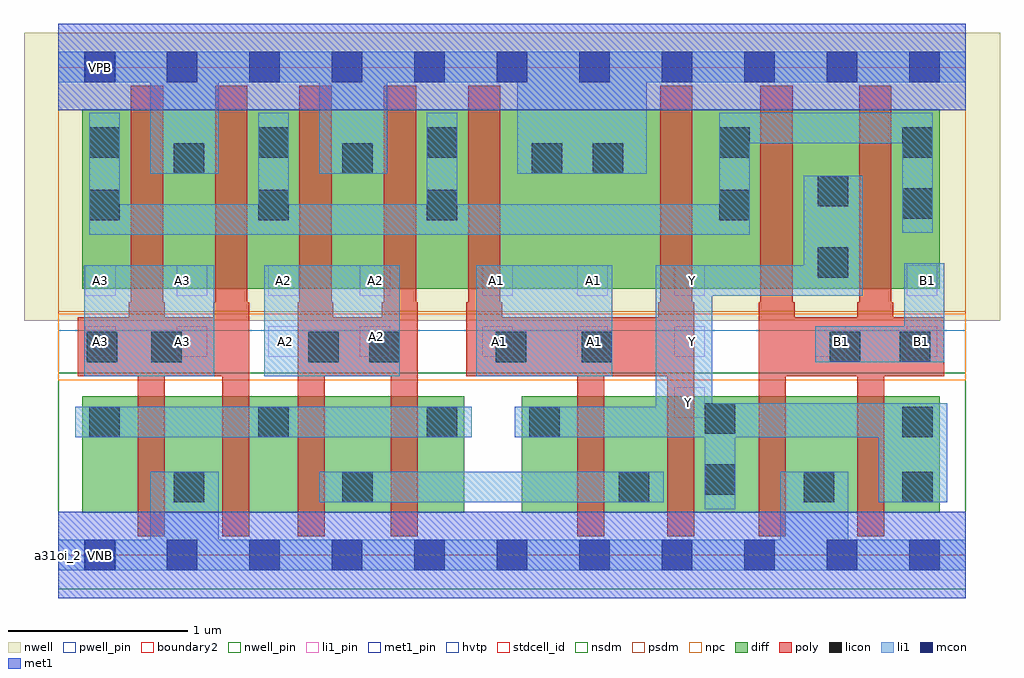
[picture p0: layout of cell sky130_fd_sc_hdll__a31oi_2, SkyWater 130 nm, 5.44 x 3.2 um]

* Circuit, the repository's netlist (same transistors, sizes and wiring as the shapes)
* Copyright 2020 The SkyWater PDK Authors
*
* Licensed under the Apache License, Version 2.0 (the "License");
* you may not use this file except in compliance with the License.
* You may obtain a copy of the License at
*
*     https://www.apache.org/licenses/LICENSE-2.0
*
* Unless required by applicable law or agreed to in writing, software
* distributed under the License is distributed on an "AS IS" BASIS,
* WITHOUT WARRANTIES OR CONDITIONS OF ANY KIND, either express or implied.
* See the License for the specific language governing permissions and
* limitations under the License.
*
* SPDX-License-Identifier: Apache-2.0

.SUBCKT sky130_fd_sc_hdll__a31oi_2 A1 A2 A3 B1 VGND VNB VPB VPWR Y
*.PININFO A1:I A2:I A3:I B1:I VGND:I VNB:I VPB:I VPWR:I Y:O
MMPA0 pndA A1 VPWR VPB sky130_fd_pr__pfet_01v8_hvt m=2 w=1.0U l=0.18U mult=1 sa=0.265
+ sb=0.265 sd=0.28 area=0.063 perim=1.14
MMPA1 pndA A2 VPWR VPB sky130_fd_pr__pfet_01v8_hvt m=2 w=1.0U l=0.18U mult=1 sa=0.265
+ sb=0.265 sd=0.28 area=0.063 perim=1.14
MMPA2 pndA A3 VPWR VPB sky130_fd_pr__pfet_01v8_hvt m=2 w=1.0U l=0.18U mult=1 sa=0.265
+ sb=0.265 sd=0.28 area=0.063 perim=1.14
MMPB0 Y B1 pndA VPB sky130_fd_pr__pfet_01v8_hvt m=2 w=1.0U l=0.18U mult=1 sa=0.265
+ sb=0.265 sd=0.28 area=0.063 perim=1.14
MMNA0 Y A1 sndA1 VNB sky130_fd_pr__nfet_01v8 m=2 w=0.65U l=0.15U mult=1 sa=0.265
+ sb=0.265 sd=0.28 area=0.063 perim=1.14
MMNA1 sndA1 A2 sndA2 VNB sky130_fd_pr__nfet_01v8 m=2 w=0.65U l=0.15U mult=1 sa=0.265
+ sb=0.265 sd=0.28 area=0.063 perim=1.14
MMNA2 sndA2 A3 VGND VNB sky130_fd_pr__nfet_01v8 m=2 w=0.65U l=0.15U mult=1 sa=0.265
+ sb=0.265 sd=0.28 area=0.063 perim=1.14
MMNB0 Y B1 VGND VNB sky130_fd_pr__nfet_01v8 m=2 w=0.65U l=0.15U mult=1 sa=0.265
+ sb=0.265 sd=0.28 area=0.063 perim=1.14
.ENDS sky130_fd_sc_hdll__a31oi_2

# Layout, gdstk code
import gdstk
lib = gdstk.Library(unit=1e-6, precision=1e-09)
def R(c, l, rs):  # rectangles x0, y0, x1, y1
    for r in rs: c.add(gdstk.rectangle(r[:2], r[2:], *l))
def A(c, l, x, y, w, h, nx, ny, dx, dy):  # array of equal rectangles
    R(c, l, [(x+i*dx, y+j*dy, x+i*dx+w, y+j*dy+h) for i in range(nx) for j in range(ny)])
def P(c, l, *ps):  # polygons
    for p in ps: c.add(gdstk.Polygon(p, *l))
nwell_pin = (64, 16)
nwell = (64, 20)
diff = (65, 20)
poly = (66, 20)
licon = (66, 44)
li1_pin = (67, 16)
li1 = (67, 20)
mcon = (67, 44)
met1_pin = (68, 16)
met1 = (68, 20)
hvtp = (78, 44)
stdcell_id = (81, 4)
nsdm = (93, 44)
psdm = (94, 20)
npc = (95, 20)
pwell_pin = (122, 16)
boundary2 = (236, 0)

sky130_fd_sc_hdll__a31oi = lib.new_cell('sky130_fd_sc_hdll__a31oi_2')
R(sky130_fd_sc_hdll__a31oi, nwell_pin, [(0.15,2.635,0.32,2.805)])
R(sky130_fd_sc_hdll__a31oi, nwell, [(-0.19,1.305,5.25,2.91)])
R(sky130_fd_sc_hdll__a31oi, diff, [(0.135,0.235,2.265,0.885), (2.585,0.235,4.915,0.885), (0.135,1.485,4.915,2.485)])
P(sky130_fd_sc_hdll__a31oi, poly, [(1.065,1.41),(1.055,1.41),(1.055,2.615),(0.875,2.615),(0.875,1.41),(0.865,1.41),(0.865,1.325),(0.595,1.325),(0.595,1.41),(0.585,1.41),(0.585,2.615),(0.405,2.615),(0.405,1.41),(0.395,1.41),(0.395,1.325),(0.11,1.325),(0.11,0.995),(0.445,0.995),(0.445,0.105),(0.595,0.105),(0.595,0.995),(0.915,0.995),(0.915,0.105),(1.065,0.105)],
  [(2.005,1.41),(1.995,1.41),(1.995,2.615),(1.815,2.615),(1.815,1.41),(1.805,1.41),(1.805,1.325),(1.535,1.325),(1.535,1.41),(1.525,1.41),(1.525,2.615),(1.345,2.615),(1.345,1.41),(1.335,1.41),(1.335,0.105),(1.485,0.105),(1.485,0.995),(1.855,0.995),(1.855,0.105),(2.005,0.105)],
  [(3.545,1.41),(3.535,1.41),(3.535,2.615),(3.355,2.615),(3.355,1.41),(3.345,1.41),(3.345,1.325),(2.475,1.325),(2.475,1.41),(2.465,1.41),(2.465,2.615),(2.285,2.615),(2.285,1.41),(2.275,1.41),(2.275,0.995),(2.895,0.995),(2.895,0.105),(3.045,0.105),(3.045,0.995),(3.395,0.995),(3.395,0.105),(3.545,0.105)],
  [(4.94,1.325),(4.655,1.325),(4.655,1.41),(4.645,1.41),(4.645,2.615),(4.465,2.615),(4.465,1.41),(4.455,1.41),(4.455,1.325),(4.105,1.325),(4.105,1.41),(4.095,1.41),(4.095,2.615),(3.915,2.615),(3.915,1.41),(3.905,1.41),(3.905,0.105),(4.055,0.105),(4.055,0.995),(4.455,0.995),(4.455,0.105),(4.605,0.105),(4.605,0.995),(4.94,0.995)])
A(sky130_fd_sc_hdll__a31oi, licon, 0.175, 0.655, 0.17, 0.17, 3, 2, 0.94, 1.21)
A(sky130_fd_sc_hdll__a31oi, licon, 0.175, 2.215, 0.17, 0.17, 3, 1, 0.94, 0)
R(sky130_fd_sc_hdll__a31oi, licon, [(0.645,0.295,0.815,0.465), (1.585,0.295,1.755,0.465), (3.125,0.295,3.295,0.465), (4.155,0.295,4.325,0.465), (4.705,0.295,4.875,0.465), (3.605,0.335,3.775,0.505), (2.625,0.655,2.795,0.825), (4.705,0.655,4.875,0.825), (3.605,0.675,3.775,0.845), (0.16,1.075,0.33,1.245), (0.52,1.075,0.69,1.245), (1.395,1.075,1.565,1.245), (1.735,1.075,1.905,1.245), (2.44,1.075,2.61,1.245), (2.92,1.075,3.09,1.245), (4.3,1.075,4.47,1.245), (4.69,1.075,4.86,1.245), (4.235,1.545,4.405,1.715), (3.685,1.865,3.855,2.035), (4.705,1.875,4.875,2.045), (4.235,1.945,4.405,2.115), (0.645,2.125,0.815,2.295), (1.585,2.125,1.755,2.295), (2.64,2.125,2.81,2.295), (2.98,2.125,3.15,2.295), (3.685,2.215,3.855,2.385), (4.705,2.215,4.875,2.385)])
A(sky130_fd_sc_hdll__a31oi, li1_pin, 3.435, 0.765, 0.17, 0.17, 1, 3, 0, 0.34)
A(sky130_fd_sc_hdll__a31oi, li1_pin, 0.15, 1.105, 0.17, 0.17, 4, 2, 0.51, 0.34)
R(sky130_fd_sc_hdll__a31oi, li1_pin, [(2.365,1.105,2.535,1.275), (2.895,1.105,3.065,1.275), (4.22,1.105,4.39,1.275), (4.73,1.105,4.9,1.275), (2.365,1.445,2.535,1.615), (2.895,1.445,3.065,1.615), (4.73,1.445,4.9,1.615)])
R(sky130_fd_sc_hdll__a31oi, li1, [(1.455,0.295,3.375,0.465), (0.095,0.655,2.305,0.825), (0.145,0.995,0.87,1.615), (1.15,0.995,1.905,1.615), (2.33,0.995,3.09,1.615)])
P(sky130_fd_sc_hdll__a31oi, li1, [(4.94,1.625),(4.715,1.625),(4.715,1.275),(4.22,1.275),(4.22,1.075),(4.94,1.075)],
  [(5.06,0.085),(4.405,0.085),(4.405,0.465),(4.025,0.465),(4.025,0.085),(0.895,0.085),(0.895,0.465),(0.515,0.465),(0.515,0.085),(0,0.085),(0,-0.085),(5.06,-0.085)],
  [(4.875,2.465),(3.685,2.465),(3.685,1.955),(2.225,1.955),(2.225,2.465),(2.055,2.465),(2.055,1.955),(1.285,1.955),(1.285,2.465),(1.115,2.465),(1.115,1.955),(0.345,1.955),(0.345,2.465),(0.175,2.465),(0.175,1.785),(3.855,1.785),(3.855,2.295),(4.705,2.295),(4.705,1.795),(4.875,1.795)],
  [(4.955,0.845),(3.645,0.845),(3.645,1.445),(4.485,1.445),(4.485,2.115),(4.155,2.115),(4.155,1.615),(3.33,1.615),(3.33,0.825),(2.545,0.825),(2.545,0.655),(3.605,0.655),(3.605,0.255),(3.775,0.255),(3.775,0.655),(4.575,0.655),(4.575,0.295),(4.955,0.295)],
  [(5.06,2.805),(0,2.805),(0,2.635),(0.515,2.635),(0.515,2.125),(0.895,2.125),(0.895,2.635),(1.455,2.635),(1.455,2.125),(1.835,2.125),(1.835,2.635),(2.56,2.635),(2.56,2.125),(3.28,2.125),(3.28,2.635),(5.06,2.635)])
A(sky130_fd_sc_hdll__a31oi, mcon, 0.145, -0.085, 0.17, 0.17, 11, 2, 0.46, 2.72)
R(sky130_fd_sc_hdll__a31oi, met1_pin, [(0.15,-0.085,0.32,0.085), (0.15,2.635,0.32,2.805)])
R(sky130_fd_sc_hdll__a31oi, met1, [(0,-0.24,5.06,0.24), (0,2.48,5.06,2.96)])
R(sky130_fd_sc_hdll__a31oi, hvtp, [(0,1.25,5.06,2.72)])
R(sky130_fd_sc_hdll__a31oi, stdcell_id, [(0,0,5.06,2.72)])
R(sky130_fd_sc_hdll__a31oi, nsdm, [(0,-0.19,5.06,1.015)])
R(sky130_fd_sc_hdll__a31oi, psdm, [(0,1.355,5.06,2.91)])
R(sky130_fd_sc_hdll__a31oi, npc, [(0,0.975,5.06,1.345)])
R(sky130_fd_sc_hdll__a31oi, pwell_pin, [(0.15,-0.085,0.32,0.085)])
R(sky130_fd_sc_hdll__a31oi, boundary2, [(0,0,5.06,2.72)])
sky130_fd_sc_hdll__a31oi.add(gdstk.Label('A3', (0.695,1.19), layer=67, texttype=5))
sky130_fd_sc_hdll__a31oi.add(gdstk.Label('B1', (4.81,1.19), layer=67, texttype=5))
sky130_fd_sc_hdll__a31oi.add(gdstk.Label('B1', (4.365,1.19), layer=67, texttype=5))
sky130_fd_sc_hdll__a31oi.add(gdstk.Label('Y', (3.535,1.19), layer=67, texttype=5))
sky130_fd_sc_hdll__a31oi.add(gdstk.Label('Y', (3.535,1.53), layer=67, texttype=5))
sky130_fd_sc_hdll__a31oi.add(gdstk.Label('B1', (4.845,1.53), layer=67, texttype=5))
sky130_fd_sc_hdll__a31oi.add(gdstk.Label('A1', (2.985,1.53), layer=67, texttype=5))
sky130_fd_sc_hdll__a31oi.add(gdstk.Label('A1', (2.445,1.53), layer=67, texttype=5))
sky130_fd_sc_hdll__a31oi.add(gdstk.Label('A1', (2.46,1.19), layer=67, texttype=5))
sky130_fd_sc_hdll__a31oi.add(gdstk.Label('Y', (3.515,0.85), layer=67, texttype=5))
sky130_fd_sc_hdll__a31oi.add(gdstk.Label('A2', (1.77,1.53), layer=67, texttype=5))
sky130_fd_sc_hdll__a31oi.add(gdstk.Label('A2', (1.27,1.19), layer=67, texttype=5))
sky130_fd_sc_hdll__a31oi.add(gdstk.Label('A2', (1.255,1.53), layer=67, texttype=5))
sky130_fd_sc_hdll__a31oi.add(gdstk.Label('A1', (2.99,1.19), layer=67, texttype=5))
sky130_fd_sc_hdll__a31oi.add(gdstk.Label('A3', (0.695,1.53), layer=67, texttype=5))
sky130_fd_sc_hdll__a31oi.add(gdstk.Label('A3', (0.235,1.53), layer=67, texttype=5))
sky130_fd_sc_hdll__a31oi.add(gdstk.Label('A3', (0.235,1.19), layer=67, texttype=5))
sky130_fd_sc_hdll__a31oi.add(gdstk.Label('A2', (1.775,1.22), layer=67, texttype=5))
sky130_fd_sc_hdll__a31oi.add(gdstk.Label('VNB', (0.235,0), layer=64, texttype=59))
sky130_fd_sc_hdll__a31oi.add(gdstk.Label('VPB', (0.235,2.72), layer=64, texttype=5))
sky130_fd_sc_hdll__a31oi.add(gdstk.Label('VPWR', (0.235,2.72), layer=68, texttype=5))
sky130_fd_sc_hdll__a31oi.add(gdstk.Label('VGND', (0.23,0), layer=68, texttype=5))
sky130_fd_sc_hdll__a31oi.add(gdstk.Label('a31oi_2', (0,0), layer=83, texttype=44))

lib.write_gds('sky130_fd_sc_hdll__a31oi_2.gds')
